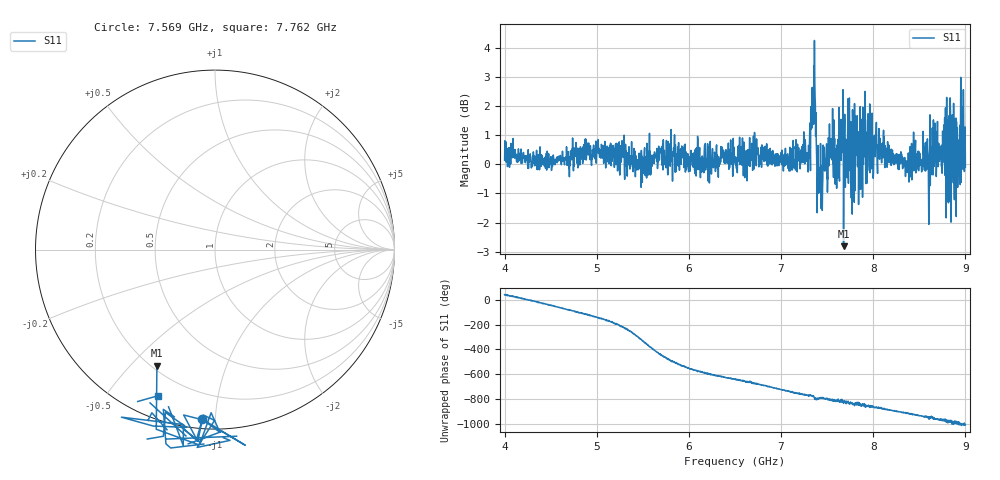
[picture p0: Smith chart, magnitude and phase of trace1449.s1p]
! Created with skrf 1.8.0 (http://scikit-rf.org).
# Hz S RI R 50.0
!freq ReS11 ImS11
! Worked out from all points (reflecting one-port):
!   1601 points, 4 GHz to 9 GHz, reference 50 ohm
!   lowest |S11| = -2.8 dB at 7.678 GHz (marker M1), VSWR 6.23, Z = 11 - j29.8 ohm
!   phase of S11 starts at 43 deg and turns -1050 deg over the sweep
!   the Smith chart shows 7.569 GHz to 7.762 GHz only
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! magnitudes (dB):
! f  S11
! 4 GHz  0.1
! 4.625 GHz  0.1
! 5.25 GHz  -0.4
! 5.875 GHz  0.0
! 6.5 GHz  0.2
! 7.125 GHz  0.3
! 7.294 GHz  -0.3
! 7.347 GHz  2.3
! 7.362 GHz  4.2
! 7.4 GHz  0.6
! 7.428 GHz  0.7
! 7.538 GHz  0.6
! 7.609 GHz  0.0
! 7.65 GHz  1.5
! 7.678 GHz  -2.8
! 7.75 GHz  -0.2
! 7.775 GHz  1.9
! 7.8 GHz  -0.9
! 7.962 GHz  2.1
! 7.981 GHz  -0.2
! 8.375 GHz  0.0
! 8.566 GHz  -0.2
! 8.625 GHz  -0.3
! 8.656 GHz  0.7
! 8.759 GHz  0.7
! 8.9 GHz  -1.8
! 8.956 GHz  0.6
! 9 GHz  -0.1
